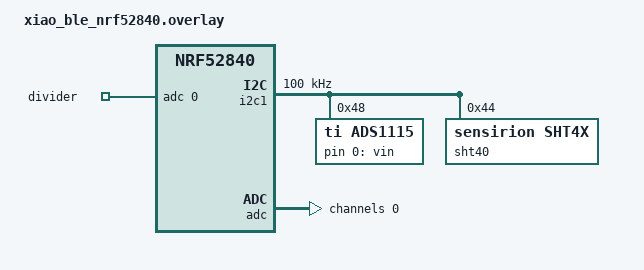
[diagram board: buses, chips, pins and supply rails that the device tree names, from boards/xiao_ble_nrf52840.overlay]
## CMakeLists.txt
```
#
# Copyright (c) 2025 Nordic Semiconductor ASA
#
# SPDX-License-Identifier: LicenseRef-Nordic-5-Clause
#

cmake_minimum_required(VERSION 3.20.0)
find_package(Zephyr REQUIRED HINTS $ENV{ZEPHYR_BASE})
project(teg_scheduler)

target_sources(app PRIVATE src/main.c src/ble_output.c)
```

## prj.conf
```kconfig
CONFIG_ADC=y
CONFIG_I2C=y
CONFIG_ADC_ADS1X1X=y
CONFIG_SENSOR=y
CONFIG_SHT4X=y

# Phone-facing Nordic UART Service for USB-powered integration tests.
CONFIG_BT=y
CONFIG_BT_PERIPHERAL=y
CONFIG_BT_DEVICE_NAME="TEG_XIAO"
CONFIG_BT_MAX_CONN=1
CONFIG_BT_NUS=y
CONFIG_BT_L2CAP_TX_MTU=247
CONFIG_BT_BUF_ACL_RX_SIZE=251
CONFIG_BT_BUF_ACL_TX_SIZE=251
CONFIG_MAIN_STACK_SIZE=2048
CONFIG_SYSTEM_WORKQUEUE_STACK_SIZE=2048

# Send printf output to the XIAO USB-C port.
CONFIG_USB_DEVICE_STACK_NEXT=y
CONFIG_CDC_ACM_SERIAL_INITIALIZE_AT_BOOT=y
CONFIG_SERIAL=y
CONFIG_CONSOLE=y
CONFIG_UART_CONSOLE=y
CONFIG_STDOUT_CONSOLE=y
CONFIG_UART_LINE_CTRL=y
CONFIG_BOOT_BANNER=n

# Floating-point voltage values in CSV output.
CONFIG_PICOLIBC=y
CONFIG_PICOLIBC_IO_FLOAT=y
```

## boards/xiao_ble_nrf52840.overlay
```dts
#include <zephyr/dt-bindings/adc/adc.h>
#include <zephyr/dt-bindings/adc/nrf-saadc.h>
#include <zephyr/dt-bindings/i2c/i2c.h>

/ {
	zephyr,user {
		io-channels = <&adc 0>, <&ads1115 0>;
		io-channel-names = "divider", "vin";
	};
};

&i2c1 {
	status = "okay";
	clock-frequency = <I2C_BITRATE_STANDARD>;

	ads1115: adc@48 {
		compatible = "ti,ads1115";
		reg = <0x48>;
		#io-channel-cells = <1>;
		#address-cells = <1>;
		#size-cells = <0>;

		channel@0 {
			reg = <0>;
			zephyr,gain = "ADC_GAIN_8";
			zephyr,reference = "ADC_REF_INTERNAL";
			zephyr,acquisition-time = <ADC_ACQ_TIME_DEFAULT>;
			zephyr,input-positive = <0>;
			/* Single-ended ADS1115 uses 15 positive bits, +/-256 mV range. */
			zephyr,resolution = <15>;
		};
	};

	sht40: sht40@44 {
		compatible = "sensirion,sht4x";
		reg = <0x44>;
		repeatability = <2>;
	};
};

&adc {
	status = "okay";
	#address-cells = <1>;
	#size-cells = <0>;

	channel@0 {
		reg = <0>;
		zephyr,gain = "ADC_GAIN_1_6";
		zephyr,reference = "ADC_REF_INTERNAL";
		/* Longer acquisition for the high-resistance voltage divider. */
		zephyr,acquisition-time = <ADC_ACQ_TIME(ADC_ACQ_TIME_MICROSECONDS, 40)>;
		/* XIAO D0/A0 = P0.02 = SAADC AIN0, not GPIO P0.00. */
		zephyr,input-positive = <NRF_SAADC_AIN0>;
		zephyr,resolution = <12>;
	};
};
```

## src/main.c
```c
/* SPDX-License-Identifier: Apache-2.0 */

#include <stdio.h>
#include <errno.h>
#include <math.h>
#include <zephyr/drivers/adc.h>
#include <zephyr/drivers/sensor.h>
#include <zephyr/drivers/uart.h>
#include <zephyr/kernel.h>

#include "ble_output.h"

/* VOUT -- 1 Mohm -- D0/A0 -- 330 kohm -- GND. */
static const double R_TOP_OHM = 1000000.0;
static const double R_BOTTOM_OHM = 330000.0;

/* Calibration pair: multimeter VOUT (V) and simultaneous adc_raw.
 * Both zero: use the nominal divider ratio instead. */
static const double CAL_VOLTAGE = 0.0;
static const double CAL_ADC = 0.0;

#define SAMPLES 20
#define SAMPLE_SPACING_MS 5
#define ADC_TEST_INTERVAL_MS 1000

/* Short interval for phone tests; use INITIAL_TX_INTERVAL_MS later. */
#define BLE_TEST_INTERVAL_MS 5000
#define INITIAL_TX_INTERVAL_MS (300 * 1000)

static const char csv_header[] =
	"time_s,adc_raw,d0_voltage_V,vout_voltage_V,vin_adc_raw,vin_mV,"
	"temperature_C,humidity_pct,adc_status,ads_status,sht_status\n";

static const struct adc_dt_spec adc_input =
	ADC_DT_SPEC_GET(DT_PATH(zephyr_user));
static const struct adc_dt_spec vin_input =
	ADC_DT_SPEC_GET_BY_NAME(DT_PATH(zephyr_user), vin);
static const struct device *const sht40 = DEVICE_DT_GET(DT_NODELABEL(sht40));

static int read_vin(double *raw, double *millivolts)
{
	int16_t sample;
	struct adc_sequence sequence = {
		.buffer = &sample,
		.buffer_size = sizeof(sample),
	};
	int ret = adc_sequence_init_dt(&vin_input, &sequence);

	if (ret < 0) {
		return ret;
	}
	ret = adc_read_dt(&vin_input, &sequence);
	if (ret < 0) {
		return ret;
	}

	int32_t microvolts = sample;

	ret = adc_raw_to_microvolts_dt(&vin_input, &microvolts);
	if (ret < 0) {
		return ret;
	}
	/* A full-scale code cannot distinguish 256 mV from overrange. */
	if (sample == INT16_MAX) {
		return -ERANGE;
	}
	*raw = sample;
	*millivolts = microvolts / 1000.0;
	return 0;
}

static int read_environment(double *temperature, double *humidity)
{
	struct sensor_value temp;
	struct sensor_value rh;
	int ret = sensor_sample_fetch(sht40);

	if (ret < 0) {
		return ret;
	}
	ret = sensor_channel_get(sht40, SENSOR_CHAN_AMBIENT_TEMP, &temp);
	if (ret < 0) {
		return ret;
	}
	ret = sensor_channel_get(sht40, SENSOR_CHAN_HUMIDITY, &rh);
	if (ret < 0) {
		return ret;
	}
	*temperature = sensor_value_to_double(&temp);
	*humidity = sensor_value_to_double(&rh);
	return 0;
}

static int read_adc(double *raw_average, double *pin_voltage)
{
	int16_t sample;
	int32_t raw_total = 0;
	int64_t microvolt_total = 0;
	struct adc_sequence sequence = {
		.buffer = &sample,
		.buffer_size = sizeof(sample),
	};
	int ret = adc_sequence_init_dt(&adc_input, &sequence);

	if (ret < 0) {
		return ret;
	}

	for (int i = 0; i < SAMPLES; i++) {
		ret = adc_read_dt(&adc_input, &sequence);
		if (ret < 0) {
			return ret;
		}
		raw_total += sample;
		int32_t microvolts = sample;

		ret = adc_raw_to_microvolts_dt(&adc_input, &microvolts);
		if (ret < 0) {
			return ret;
		}
		microvolt_total += microvolts;
		k_msleep(SAMPLE_SPACING_MS);
	}

	*raw_average = (double)raw_total / SAMPLES;
	*pin_voltage = (double)microvolt_total / SAMPLES / 1000000.0;
	return 0;
}

int main(void)
{
	const struct device *console = DEVICE_DT_GET(DT_CHOSEN(zephyr_console));
	int ret;

	if (!device_is_ready(console) || !adc_is_ready_dt(&adc_input)) {
		return 0;
	}

	ret = adc_channel_setup_dt(&adc_input);
	if (ret < 0) {
		printf("# ADC setup failed: %d\n", ret);
		return 0;
	}
	int ads_setup_status = adc_is_ready_dt(&vin_input) ?
		adc_channel_setup_dt(&vin_input) : -ENODEV;
	int sht_setup_status = device_is_ready(sht40) ? 0 : -ENODEV;
	int ble_status = ble_output_init();
	int64_t next_ble_time = 0;
	bool usb_was_open = false;

	printf("# D0/A0 voltage test; VOUT uses the 1M/330k divider.\n");
	printf("# ADS1115 A0: VIN, address 0x48, range 0..256 mV; SHT40: 0x44.\n");
	printf("# Startup status: ADS=%d, SHT=%d (0=ready).\n",
	       ads_setup_status, sht_setup_status);
	printf("# VOUT calibration: %s\n",
	       CAL_ADC > 0.0 && CAL_VOLTAGE > 0.0 ? "enabled" : "not yet calibrated");

	while (1) {
		uint32_t dtr = 0;

		uart_line_ctrl_get(console, UART_LINE_CTRL_DTR, &dtr);
		if (dtr && !usb_was_open) {
			printf("# BLE TEG_XIAO: startup status=%d; interval=%d ms.\n",
			       ble_status, BLE_TEST_INTERVAL_MS);
			printf("%s", csv_header);
		}
		usb_was_open = dtr != 0;

		double adc_raw = NAN;
		double d0_voltage = NAN;
		double vout_voltage = NAN;
		double vin_raw = NAN;
		double vin_mv = NAN;
		double temperature = NAN;
		double humidity = NAN;

		int adc_status = read_adc(&adc_raw, &d0_voltage);

		if (adc_status == 0) {
			vout_voltage = d0_voltage *
				(R_TOP_OHM + R_BOTTOM_OHM) / R_BOTTOM_OHM;

			if (CAL_ADC > 0.0 && CAL_VOLTAGE > 0.0) {
				vout_voltage = adc_raw * CAL_VOLTAGE / CAL_ADC;
			}
		}
		int ads_status = ads_setup_status;
		int sht_status = sht_setup_status;

		if (ads_status == 0) {
			ads_status = read_vin(&vin_raw, &vin_mv);
		}
		if (sht_status == 0) {
			sht_status = read_environment(&temperature, &humidity);
		}
		char line[192];
		int length = snprintf(line, sizeof(line),
		       "%.3f,%.1f,%.4f,%.4f,%.0f,%.3f,%.2f,%.2f,%d,%d,%d\n",
		       k_uptime_get() / 1000.0, adc_raw, d0_voltage, vout_voltage,
		       vin_raw, vin_mv, temperature, humidity,
		       adc_status, ads_status, sht_status);

		if (length < 0 || length >= sizeof(line)) {
			printf("# CSV formatting failed.\n");
			k_msleep(ADC_TEST_INTERVAL_MS);
			continue;
		}
		if (dtr) {
			printf("%s", line);
		}
		if (ble_status == 0 && k_uptime_get() >= next_ble_time) {
			ret = ble_output_send(line, length);
			if (ret == 0) {
				next_ble_time = k_uptime_get() + BLE_TEST_INTERVAL_MS;
			} else if (ret != -ENOTCONN) {
				printf("# BLE send failed: %d\n", ret);
			}
		}

		/* The interval starts after sampling and USB output finish. */
		k_msleep(ADC_TEST_INTERVAL_MS);
	}
	return 0;
}
```

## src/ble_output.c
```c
/* SPDX-License-Identifier: Apache-2.0 */

#include "ble_output.h"

#include <errno.h>
#include <stdio.h>
#include <bluetooth/services/nus.h>
#include <zephyr/bluetooth/bluetooth.h>
#include <zephyr/kernel.h>
#include <zephyr/sys/atomic.h>

static struct bt_conn *phone;
static atomic_t notifications_enabled;
K_MUTEX_DEFINE(phone_lock);

static const struct bt_data advertising_data[] = {
	BT_DATA_BYTES(BT_DATA_FLAGS, BT_LE_AD_GENERAL | BT_LE_AD_NO_BREDR),
	BT_DATA_BYTES(BT_DATA_UUID128_ALL, BT_UUID_NUS_VAL),
};
static const struct bt_data scan_response[] = {
	BT_DATA(BT_DATA_NAME_COMPLETE, CONFIG_BT_DEVICE_NAME,
		sizeof(CONFIG_BT_DEVICE_NAME) - 1),
};

static int start_advertising(void)
{
	return bt_le_adv_start(BT_LE_ADV_CONN_FAST_1,
		advertising_data, ARRAY_SIZE(advertising_data),
		scan_response, ARRAY_SIZE(scan_response));
}

static void restart_advertising(struct k_work *work)
{
	ARG_UNUSED(work);
	int ret = start_advertising();

	if (ret < 0) {
		printf("# BLE advertising failed: %d\n", ret);
	}
}

K_WORK_DEFINE(advertising_work, restart_advertising);

static void connected(struct bt_conn *conn, uint8_t error)
{
	if (error) {
		return;
	}
	k_mutex_lock(&phone_lock, K_FOREVER);
	phone = bt_conn_ref(conn);
	k_mutex_unlock(&phone_lock);
}

static void disconnected(struct bt_conn *conn, uint8_t reason)
{
	ARG_UNUSED(reason);
	atomic_clear(&notifications_enabled);
	k_mutex_lock(&phone_lock, K_FOREVER);
	if (phone == conn) {
		bt_conn_unref(phone);
		phone = NULL;
	}
	k_mutex_unlock(&phone_lock);
}

static void recycled(void)
{
	/* Restart only after the previous connection object has been released. */
	k_work_submit(&advertising_work);
}

BT_CONN_CB_DEFINE(connection_callbacks) = {
	.connected = connected,
	.disconnected = disconnected,
	.recycled = recycled,
};

static void subscription_changed(enum bt_nus_send_status status)
{
	atomic_set(&notifications_enabled, status == BT_NUS_SEND_STATUS_ENABLED);
}

int ble_output_init(void)
{
	static struct bt_nus_cb callbacks = {
		.send_enabled = subscription_changed,
	};
	int ret = bt_nus_init(&callbacks);

	if (ret < 0) {
		return ret;
	}
	ret = bt_enable(NULL);
	if (ret < 0) {
		return ret;
	}
	return start_advertising();
}

int ble_output_send(const char *data, size_t length)
{
	if (!atomic_get(&notifications_enabled)) {
		return -ENOTCONN;
	}
	k_mutex_lock(&phone_lock, K_FOREVER);
	struct bt_conn *conn = phone ? bt_conn_ref(phone) : NULL;
	k_mutex_unlock(&phone_lock);
	if (conn == NULL) {
		return -ENOTCONN;
	}

	/* Fit notifications to the negotiated MTU, including the 20-byte default. */
	size_t payload_size = bt_nus_get_mtu(conn);
	int ret = 0;

	while (length > 0) {
		size_t chunk_size = MIN(length, payload_size);

		ret = bt_nus_send(conn, (const uint8_t *)data, chunk_size);
		if (ret < 0) {
			break;
		}
		data += chunk_size;
		length -= chunk_size;
	}
	bt_conn_unref(conn);
	return ret;
}
```

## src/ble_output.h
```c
/* SPDX-License-Identifier: Apache-2.0 */

#ifndef TEG_BLE_OUTPUT_H
#define TEG_BLE_OUTPUT_H

#include <stddef.h>

int ble_output_init(void);
int ble_output_send(const char *data, size_t length);

#endif
```
